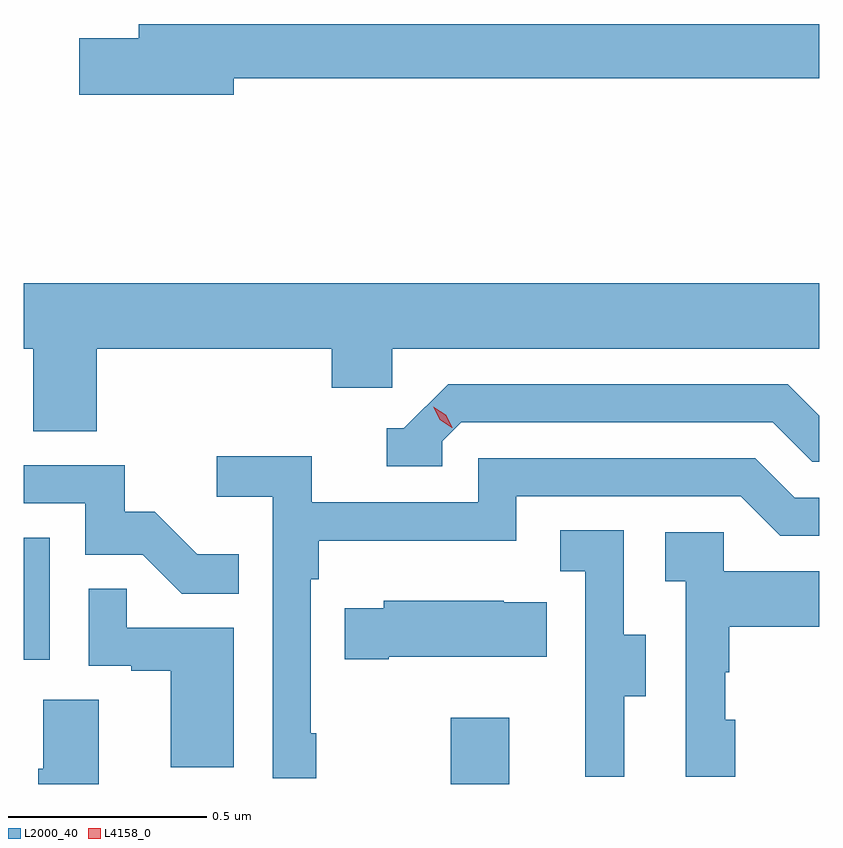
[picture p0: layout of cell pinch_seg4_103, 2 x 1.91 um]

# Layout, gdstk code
import gdstk
lib = gdstk.Library(unit=1e-6, precision=1e-09)
def R(c, l, rs):  # rectangles x0, y0, x1, y1
    for r in rs: c.add(gdstk.rectangle(r[:2], r[2:], *l))
def P(c, l, *ps):  # polygons
    for p in ps: c.add(gdstk.Polygon(p, *l))
L2000_40 = (2000, 40)
L4158_0 = (4158, 0)

pinch_seg4_103 = lib.new_cell('pinch_seg4_103')
R(pinch_seg4_103, L2000_40, [(1065.814,806.382,1065.961,806.548), (1064.74,806.694,1064.806,807.001)])
P(pinch_seg4_103, L2000_40, [(1065.268,808.156),(1066.74,808.156),(1066.74,808.292),(1065.029,808.292),(1065.029,808.256),(1064.88,808.256),(1064.88,808.114),(1065.268,808.114)],
  [(1064.74,807.476),(1064.764,807.476),(1064.764,807.268),(1064.924,807.268),(1064.924,807.476),(1065.515,807.476),(1065.515,807.378),(1065.666,807.378),(1065.666,807.476),(1066.74,807.476),(1066.74,807.64),(1064.74,807.64)],
  [(1065.792,807.243),(1065.84,807.291),(1066.623,807.291),(1066.722,807.192),(1066.74,807.192),(1066.74,807.307),(1066.66,807.387),(1065.807,807.387),(1065.696,807.276),(1065.653,807.276),(1065.653,807.18),(1065.792,807.18)],
  [(1065.475,806.509),(1065.462,806.509),(1065.462,806.897),(1065.482,806.897),(1065.482,806.993),(1065.978,806.993),(1065.978,807.105),(1066.542,807.105),(1066.641,807.006),(1066.74,807.006),(1066.74,807.102),(1066.678,807.102),(1066.579,807.201),(1065.882,807.201),(1065.882,807.09),(1065.464,807.09),(1065.464,807.206),(1065.225,807.206),(1065.225,807.104),(1065.366,807.104),(1065.366,806.397),(1065.475,806.397)],
  [(1065.281,806.959),(1065.177,806.959),(1065.07,807.066),(1064.994,807.066),(1064.994,807.183),(1064.74,807.183),(1064.74,807.087),(1064.895,807.087),(1064.895,806.958),(1065.039,806.958),(1065.137,806.86),(1065.281,806.86)],
  [(1066.249,806.602),(1066.303,806.602),(1066.303,806.757),(1066.248,806.757),(1066.248,807.02),(1066.089,807.02),(1066.089,806.917),(1066.152,806.917),(1066.152,806.613),(1066.151,806.613),(1066.151,806.4),(1066.249,806.4)],
  [(1066.528,806.544),(1066.503,806.544),(1066.503,806.663),(1066.513,806.663),(1066.513,806.777),(1066.74,806.777),(1066.74,806.917),(1066.5,806.917),(1066.5,807.015),(1066.353,807.015),(1066.353,806.891),(1066.404,806.891),(1066.404,806.4),(1066.528,806.4)],
  [(1065.268,806.775),(1064.999,806.775),(1064.999,806.873),(1064.904,806.873),(1064.904,806.679),(1065.011,806.679),(1065.011,806.667),(1065.11,806.667),(1065.11,806.424),(1065.268,806.424)],
  [(1065.658,806.702),(1066.055,806.702),(1066.055,806.839),(1065.947,806.839),(1065.947,806.842),(1065.645,806.842),(1065.645,806.824),(1065.547,806.824),(1065.547,806.695),(1065.658,806.695)],
  [(1064.929,806.594),(1064.789,806.594),(1064.789,806.42),(1064.777,806.42),(1064.777,806.382),(1064.929,806.382)])
P(pinch_seg4_103, L4158_0, [(1065.816,807.277),(1065.786,807.297),(1065.77,807.33),(1065.77,807.33),(1065.77,807.33),(1065.801,807.31),(1065.817,807.278),(1065.817,807.277)])

lib.write_gds('pinch_seg4_103.gds')
